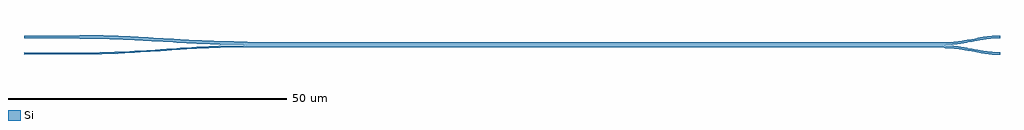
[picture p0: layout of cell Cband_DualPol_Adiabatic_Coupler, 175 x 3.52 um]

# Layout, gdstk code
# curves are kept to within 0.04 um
import gdstk
lib = gdstk.Library(unit=1e-6, precision=1e-09)
def P(c, l, *ps):  # polygons
    for p in ps: c.add(gdstk.Polygon(p, *l))
Si = (1, 0)

cband_dualpol_adiabatic_ = lib.new_cell('Cband_DualPol_Adiabatic_Coupler')
P(cband_dualpol_adiabatic_, Si, [(39.7,0.05),(32.2,0.231),(16.6,1.068),(10,1.2),(10,1.8),(16.611,1.668),(32.213,0.831),(36.406,0.69),(40,0.65),(40,0.05)],
  [(10,-1.65),(10,-1.35),(13.3,-1.312),(16.3,-1.214),(20.8,-0.977),(32.5,-0.24),(36.1,-0.103),(40,-0.05),(40,-0.35),(36.7,-0.388),(33.7,-0.486),(29.2,-0.723),(17.5,-1.46),(13.9,-1.597)],
  [(165,0.05),(165,0.5),(167.3,0.653),(172.5,1.546),(173.7,1.675),(175,1.725),(175,1.275),(172.7,1.122),(167.5,0.229),(166.3,0.1)],
  [(174.9,-1.725),(173.7,-1.675),(172.3,-1.518),(167.3,-0.653),(165,-0.5),(165,-0.05),(167.3,-0.203),(172.5,-1.096),(173.7,-1.225),(175,-1.275),(175,-1.725)],
  [(10,1.2),(0,1.275),(0,1.725),(10,1.8)],
  [(0,-1.725),(0,-1.275),(10,-1.35),(10,-1.65)],
  [(40,0.05),(40,0.65),(165,0.5),(165,0.05)],
  [(165,-0.5),(40,-0.35),(40,-0.05),(165,-0.05)])

lib.write_gds('Cband_DualPol_Adiabatic_Coupler.gds')
